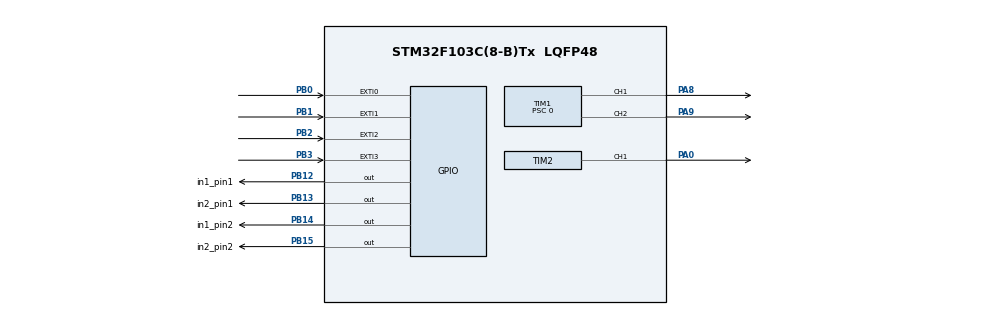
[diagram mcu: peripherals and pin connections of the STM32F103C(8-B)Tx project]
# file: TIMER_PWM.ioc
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Mcu.Family=STM32F1
Mcu.Name=STM32F103C(8-B)Tx
Mcu.Package=LQFP48
NVIC.EXTI0_IRQn=true\:0\:0\:false\:false\:true\:true\:true\:true
NVIC.EXTI1_IRQn=true\:0\:0\:false\:false\:true\:true\:true\:true
NVIC.EXTI2_IRQn=true\:0\:0\:false\:false\:true\:true\:true\:true
NVIC.EXTI3_IRQn=true\:0\:0\:false\:false\:true\:true\:true\:true
NVIC.PriorityGroup=NVIC_PRIORITYGROUP_4
PA0-WKUP.Signal=S_TIM2_CH1_ETR
PA13.Mode=Serial_Wire
PA13.Signal=SYS_JTMS-SWDIO
PA14.Mode=Serial_Wire
PA14.Signal=SYS_JTCK-SWCLK
PA8.Signal=S_TIM1_CH1
PA9.Signal=S_TIM1_CH2
PB0.GPIO_PuPd=GPIO_PULLUP
PB0.Signal=GPXTI0
PB1.Signal=GPXTI1
PB12.GPIO_Label=in1_pin1
PB12.PinState=GPIO_PIN_RESET
PB12.Signal=GPIO_Output
PB13.GPIO_Label=in2_pin1
PB13.PinState=GPIO_PIN_RESET
PB13.Signal=GPIO_Output
PB14.GPIO_Label=in1_pin2
PB14.PinState=GPIO_PIN_RESET
PB14.Signal=GPIO_Output
PB15.GPIO_Label=in2_pin2
PB15.PinState=GPIO_PIN_RESET
PB15.Signal=GPIO_Output
PB2.Signal=GPXTI2
PB3.Signal=GPXTI3
ProjectManager.HeapSize=0x200
ProjectManager.StackSize=0x400
ProjectManager.TargetToolchain=STM32CubeIDE
RCC.APB1Freq_Value=8000000
RCC.APB2Freq_Value=8000000
SH.S_TIM1_CH1.0=TIM1_CH1,PWM Generation1 CH1
SH.S_TIM1_CH2.0=TIM1_CH2,PWM Generation2 CH2
SH.S_TIM2_CH1_ETR.0=TIM2_CH1,PWM Generation1 CH1
TIM1.Channel-PWM\ Generation1\ CH1=TIM_CHANNEL_1
TIM1.Channel-PWM\ Generation2\ CH2=TIM_CHANNEL_2
TIM1.CounterMode=TIM_COUNTERMODE_CENTERALIGNED3
TIM1.Period=0
TIM1.Prescaler=0
TIM2.Channel-PWM\ Generation1\ CH1=TIM_CHANNEL_1
TIM2.Period=200
TIM2.Prescaler=3
VP_TIM2_VS_ClockSourceINT.Mode=Internal
board=custom

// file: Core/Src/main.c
/* USER CODE BEGIN Header */
/**
  ******************************************************************************
  * @file           : main.c
  * @brief          : Main program body
  ******************************************************************************
  * @attention
  *
  * <h2><center>&copy; Copyright (c) 2023 STMicroelectronics.
  * All rights reserved.</center></h2>
  *
  * This software component is licensed by ST under BSD 3-Clause license,
  * the "License"; You may not use this file except in compliance with the
  * License. You may obtain a copy of the License at:
  *                        opensource.org/licenses/BSD-3-Clause
  *
  ******************************************************************************
  */
/* USER CODE END Header */

#include "main.h"

#define LOW 0
#define HIGH 1

TIM_HandleTypeDef htim1;
TIM_HandleTypeDef htim2;

/* USER CODE BEGIN PV */

typedef struct PWMController_t{
    TIM_HandleTypeDef *htim;
    uint32_t channel;
} PWMController;

void PWMController_Init(PWMController *pwm, TIM_HandleTypeDef *htim, uint32_t channel, uint32_t frequency, float dutyCycle);

///
typedef struct HBridge_t{

    uint16_t in1_pin;
    uint16_t in2_pin;
    PWMController *pwm;
} HBridge;

void HBridge_Init(HBridge *hbridge, uint16_t in1_pin, uint16_t in2_pin,PWMController *pwm);
void HBridge_Forward(HBridge *hbridge);
void HBridge_Backward(HBridge *hbridge);
void HBridge_Stop(HBridge *hbridge);
/* USER CODE END PV */

void SystemClock_Config(void);
static void MX_GPIO_Init(void);
static void MX_TIM2_Init(void);
static void MX_TIM1_Init(void);

void SystemClock_Config(void);
static void MX_GPIO_Init(void);
static void MX_TIM2_Init(void);
static void MX_TIM1_Init(void);
void Motor_Left(void);
void Motor_Right(void);
void Motor_Forward(void);
void Motor_Backward(void);
/* USER CODE BEGIN 0 */
void motor_controller(void);
/* USER CODE END 0 */
HBridge L293D_chanel1;
HBridge L293D_chanel2;
PWMController pwm1;
PWMController pwm2;

int main(void)
{

  /* MCU Configuration--------------------------------------------------------*/

  /* Reset of all peripherals, Initializes the Flash interface and the Systick. */
  HAL_Init();

  /* Configure the system clock */
  SystemClock_Config();

  /* Initialize all configured peripherals */
  MX_GPIO_Init();
  MX_TIM2_Init();
  MX_TIM1_Init();
  /* USER CODE BEGIN 2 */
 // HAL_TIM_PWM_Start(&htim1, TIM_CHANNEL_1);
  /* USER CODE END 2 */

  HBridge L293D_chanel1;
  HBridge L293D_chanel2;
  PWMController pwm1;
  PWMController pwm2;

  HBridge_Init(&L293D_chanel1, in1_pin1_Pin, in2_pin1_Pin, &pwm1);
  HBridge_Init(&L293D_chanel2, in1_pin2_Pin, in2_pin2_Pin, &pwm2);

  PWMController_Init(&pwm1, &htim1, TIM_CHANNEL_1, 1000, 0.4);
  PWMController_Init(&pwm2, &htim1, TIM_CHANNEL_2, 1000, 0.4);

  /* Infinite loop */
  while (1)
  {
  }
}

void HAL_GPIO_EXTI_Callback(uint16_t GPIO_Pin){

	if(GPIO_Pin == GPIO_PIN_0){
		HAL_GPIO_TogglePin(GPIOB, GPIO_PIN_12);
	}

}

/* USER CODE END WHILE */
void Motor_Left(void){

	HBridge_Forward(&L293D_chanel2);
	HBridge_Backward(&L293D_chanel1);
}

void Motor_Right(void){

	HBridge_Backward(&L293D_chanel2);
	HBridge_Forward(&L293D_chanel1);
}
void Motor_Forward(void){

	 HBridge_Forward(&L293D_chanel1);
	 HBridge_Forward(&L293D_chanel2);
}

void Motor_Backward(void){

	 HBridge_Backward(&L293D_chanel1);
	 HBridge_Backward(&L293D_chanel2);
}
void HBridge_Init(HBridge *hbridge, uint16_t in1_pin, uint16_t in2_pin, PWMController *pwm) {

    hbridge->in1_pin = in1_pin;
    hbridge->in2_pin = in2_pin;
    hbridge->pwm = pwm;
}
void HBridge_Forward(HBridge *hbridge) {

	HAL_GPIO_WritePin(GPIOB,hbridge->in1_pin, 1);
	HAL_GPIO_WritePin(GPIOB,hbridge->in2_pin, 0);
}

void HBridge_Backward(HBridge *hbridge) {

    HAL_GPIO_WritePin(GPIOB,hbridge->in1_pin, 0);
    HAL_GPIO_WritePin(GPIOB,hbridge->in2_pin, 1);
}

void PWMController_Init(PWMController *pwm, TIM_HandleTypeDef *htim, uint32_t channel, uint32_t frequency, float dutyCycle) {

	pwm->htim = htim;
	pwm->htim->Instance->ARR = (HAL_RCC_GetPCLK2Freq() / frequency  );
    uint32_t timerClock = HAL_RCC_GetPCLK2Freq(); // Lấy tần số clock của Timer
    uint32_t prescaler = timerClock / frequency - 1;
    uint32_t pulse = (pwm->htim->Instance->ARR + 1) * dutyCycle;
    pwm->channel = channel;
    pwm->htim->Init.Prescaler = prescaler;
    pwm->htim->Instance->CCR1 = pulse;
    HAL_TIM_PWM_Start(pwm->htim, pwm->channel);
}
void SystemClock_Config(void)
{
  RCC_OscInitTypeDef RCC_OscInitStruct = {0};
  RCC_ClkInitTypeDef RCC_ClkInitStruct = {0};

  /** Initializes the CPU, AHB and APB busses clocks
  */
  RCC_OscInitStruct.OscillatorType = RCC_OSCILLATORTYPE_HSI;
  RCC_OscInitStruct.HSIState = RCC_HSI_ON;
  RCC_OscInitStruct.HSICalibrationValue = RCC_HSICALIBRATION_DEFAULT;
  RCC_OscInitStruct.PLL.PLLState = RCC_PLL_NONE;
  if (HAL_RCC_OscConfig(&RCC_OscInitStruct) != HAL_OK)
  {
    Error_Handler();
  }
  /** Initializes the CPU, AHB and APB busses clocks
  */
  RCC_ClkInitStruct.ClockType = RCC_CLOCKTYPE_HCLK|RCC_CLOCKTYPE_SYSCLK
                              |RCC_CLOCKTYPE_PCLK1|RCC_CLOCKTYPE_PCLK2;
  RCC_ClkInitStruct.SYSCLKSource = RCC_SYSCLKSOURCE_HSI;
  RCC_ClkInitStruct.AHBCLKDivider = RCC_SYSCLK_DIV1;
  RCC_ClkInitStruct.APB1CLKDivider = RCC_HCLK_DIV1;
  RCC_ClkInitStruct.APB2CLKDivider = RCC_HCLK_DIV1;

  if (HAL_RCC_ClockConfig(&RCC_ClkInitStruct, FLASH_LATENCY_0) != HAL_OK)
  {
    Error_Handler();
  }
}

static void MX_TIM1_Init(void)
{

  TIM_MasterConfigTypeDef sMasterConfig = {0};
  TIM_OC_InitTypeDef sConfigOC = {0};
  TIM_BreakDeadTimeConfigTypeDef sBreakDeadTimeConfig = {0};

  htim1.Instance = TIM1;
  htim1.Init.Prescaler = 0;
  htim1.Init.CounterMode = TIM_COUNTERMODE_CENTERALIGNED3;
  htim1.Init.Period = 0;
  htim1.Init.ClockDivision = TIM_CLOCKDIVISION_DIV1;
  htim1.Init.RepetitionCounter = 0;
  htim1.Init.AutoReloadPreload = TIM_AUTORELOAD_PRELOAD_DISABLE;
  if (HAL_TIM_PWM_Init(&htim1) != HAL_OK)
  {
    Error_Handler();
  }
  sMasterConfig.MasterOutputTrigger = TIM_TRGO_RESET;
  sMasterConfig.MasterSlaveMode = TIM_MASTERSLAVEMODE_DISABLE;
  if (HAL_TIMEx_MasterConfigSynchronization(&htim1, &sMasterConfig) != HAL_OK)
  {
    Error_Handler();
  }
  sConfigOC.OCMode = TIM_OCMODE_PWM1;
  sConfigOC.Pulse = 0;
  sConfigOC.OCPolarity = TIM_OCPOLARITY_HIGH;
  sConfigOC.OCNPolarity = TIM_OCNPOLARITY_HIGH;
  sConfigOC.OCFastMode = TIM_OCFAST_DISABLE;
  sConfigOC.OCIdleState = TIM_OCIDLESTATE_RESET;
  sConfigOC.OCNIdleState = TIM_OCNIDLESTATE_RESET;
  if (HAL_TIM_PWM_ConfigChannel(&htim1, &sConfigOC, TIM_CHANNEL_1) != HAL_OK)
  {
    Error_Handler();
  }
  if (HAL_TIM_PWM_ConfigChannel(&htim1, &sConfigOC, TIM_CHANNEL_2) != HAL_OK)
  {
    Error_Handler();
  }
  sBreakDeadTimeConfig.OffStateRunMode = TIM_OSSR_DISABLE;
  sBreakDeadTimeConfig.OffStateIDLEMode = TIM_OSSI_DISABLE;
  sBreakDeadTimeConfig.LockLevel = TIM_LOCKLEVEL_OFF;
  sBreakDeadTimeConfig.DeadTime = 0;
  sBreakDeadTimeConfig.BreakState = TIM_BREAK_DISABLE;
  sBreakDeadTimeConfig.BreakPolarity = TIM_BREAKPOLARITY_HIGH;
  sBreakDeadTimeConfig.AutomaticOutput = TIM_AUTOMATICOUTPUT_DISABLE;
  if (HAL_TIMEx_ConfigBreakDeadTime(&htim1, &sBreakDeadTimeConfig) != HAL_OK)
  {
    Error_Handler();
  }
  HAL_TIM_MspPostInit(&htim1);

}

static void MX_TIM2_Init(void)
{

  TIM_ClockConfigTypeDef sClockSourceConfig = {0};
  TIM_MasterConfigTypeDef sMasterConfig = {0};
  TIM_OC_InitTypeDef sConfigOC = {0};

  htim2.Instance = TIM2;
  htim2.Init.Prescaler = 3;
  htim2.Init.CounterMode = TIM_COUNTERMODE_UP;
  htim2.Init.Period = 200;
  htim2.Init.ClockDivision = TIM_CLOCKDIVISION_DIV1;
  htim2.Init.AutoReloadPreload = TIM_AUTORELOAD_PRELOAD_DISABLE;
  if (HAL_TIM_Base_Init(&htim2) != HAL_OK)
  {
    Error_Handler();
  }
  sClockSourceConfig.ClockSource = TIM_CLOCKSOURCE_INTERNAL;
  if (HAL_TIM_ConfigClockSource(&htim2, &sClockSourceConfig) != HAL_OK)
  {
    Error_Handler();
  }
  if (HAL_TIM_PWM_Init(&htim2) != HAL_OK)
  {
    Error_Handler();
  }
  sMasterConfig.MasterOutputTrigger = TIM_TRGO_RESET;
  sMasterConfig.MasterSlaveMode = TIM_MASTERSLAVEMODE_DISABLE;
  if (HAL_TIMEx_MasterConfigSynchronization(&htim2, &sMasterConfig) != HAL_OK)
  {
    Error_Handler();
  }
  sConfigOC.OCMode = TIM_OCMODE_PWM1;
  sConfigOC.Pulse = 0;
  sConfigOC.OCPolarity = TIM_OCPOLARITY_HIGH;
  sConfigOC.OCFastMode = TIM_OCFAST_DISABLE;
  if (HAL_TIM_PWM_ConfigChannel(&htim2, &sConfigOC, TIM_CHANNEL_1) != HAL_OK)
  {
    Error_Handler();
  }
  HAL_TIM_MspPostInit(&htim2);

}

static void MX_GPIO_Init(void)
{
  GPIO_InitTypeDef GPIO_InitStruct = {0};

  /* GPIO Ports Clock Enable */
  __HAL_RCC_GPIOA_CLK_ENABLE();
  __HAL_RCC_GPIOB_CLK_ENABLE();

  /*Configure GPIO pin Output Level */
  HAL_GPIO_WritePin(GPIOB, in1_pin1_Pin|in2_pin1_Pin|in1_pin2_Pin|in2_pin2_Pin, GPIO_PIN_RESET);

  /*Configure GPIO pin : PB0 */
  GPIO_InitStruct.Pin = GPIO_PIN_0;
  GPIO_InitStruct.Mode = GPIO_MODE_IT_RISING;
  GPIO_InitStruct.Pull = GPIO_PULLUP;
  HAL_GPIO_Init(GPIOB, &GPIO_InitStruct);

  /*Configure GPIO pins : PB1 PB2 PB3 */
  GPIO_InitStruct.Pin = GPIO_PIN_1|GPIO_PIN_2|GPIO_PIN_3;
  GPIO_InitStruct.Mode = GPIO_MODE_IT_RISING;
  GPIO_InitStruct.Pull = GPIO_NOPULL;
  HAL_GPIO_Init(GPIOB, &GPIO_InitStruct);

  /*Configure GPIO pins : in1_pin1_Pin in2_pin1_Pin in1_pin2_Pin in2_pin2_Pin */
  GPIO_InitStruct.Pin = in1_pin1_Pin|in2_pin1_Pin|in1_pin2_Pin|in2_pin2_Pin;
  GPIO_InitStruct.Mode = GPIO_MODE_OUTPUT_PP;
  GPIO_InitStruct.Pull = GPIO_NOPULL;
  GPIO_InitStruct.Speed = GPIO_SPEED_FREQ_LOW;
  HAL_GPIO_Init(GPIOB, &GPIO_InitStruct);

  /* EXTI interrupt init*/
  HAL_NVIC_SetPriority(EXTI0_IRQn, 0, 0);
  HAL_NVIC_EnableIRQ(EXTI0_IRQn);

  HAL_NVIC_SetPriority(EXTI1_IRQn, 0, 0);
  HAL_NVIC_EnableIRQ(EXTI1_IRQn);

  HAL_NVIC_SetPriority(EXTI2_IRQn, 0, 0);
  HAL_NVIC_EnableIRQ(EXTI2_IRQn);

  HAL_NVIC_SetPriority(EXTI3_IRQn, 0, 0);
  HAL_NVIC_EnableIRQ(EXTI3_IRQn);

}

void Error_Handler(void)
{
}

/************************ (C) COPYRIGHT STMicroelectronics *****END OF FILE****/
